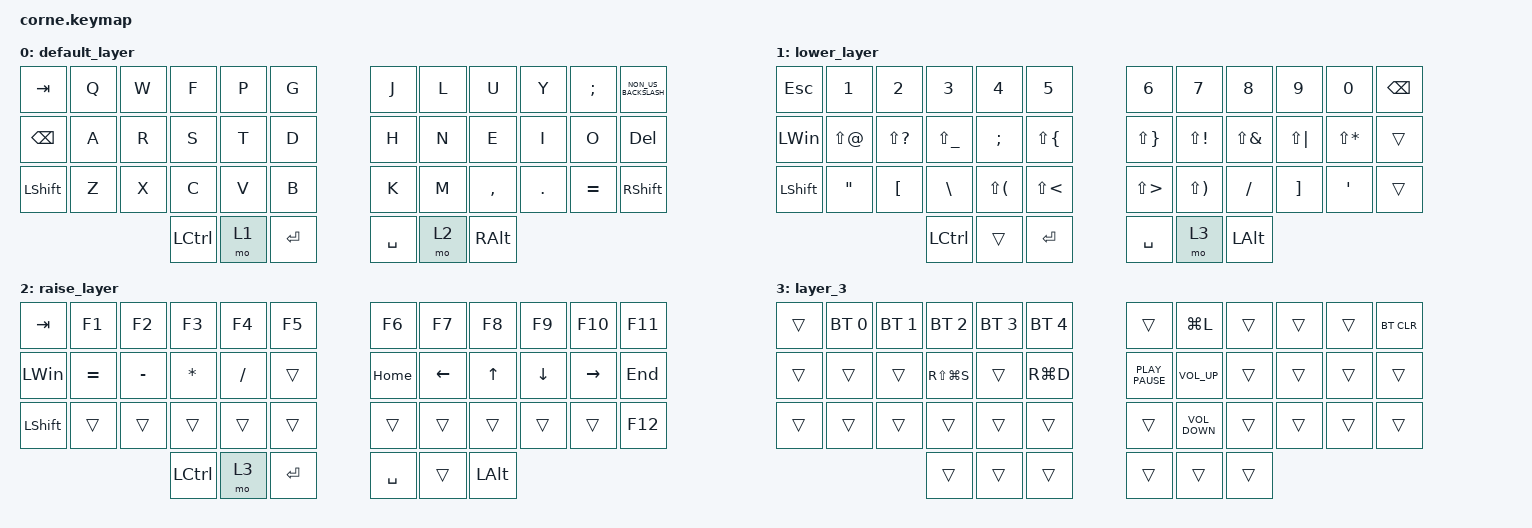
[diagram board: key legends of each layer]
/*
 * Copyright (c) 2020 The ZMK Contributors
 *
 * SPDX-License-Identifier: MIT
 */

#include <behaviors.dtsi>
#include <dt-bindings/zmk/bt.h>
#include <dt-bindings/zmk/keys.h>

/ {
    keymap {
        compatible = "zmk,keymap";

        default_layer {
            // -----------------------------------------------------------------------------------------
            // |  TAB |  Q  |  W  |  E  |  R  |  T  |   |  Y  |  U   |  I  |  O  |  P  | BKSP |
            // | CTRL |  A  |  S  |  D  |  F  |  G  |   |  H  |  J   |  K  |  L  |  ;  |  '   |
            // | SHFT |  Z  |  X  |  C  |  V  |  B  |   |  N  |  M   |  ,  |  .  |  /  | ESC  |
            //                    | GUI | LWR | SPC |   | ENT | RSE  | ALT |

            bindings = <
      &kp TAB  &kp Q  &kp W      &kp F  &kp P      &kp G        &kp J  &kp L          &kp U    &kp Y  &kp SEMICOLON  &kp NON_US_BACKSLASH
&kp BACKSPACE  &kp A  &kp R      &kp S  &kp T      &kp D        &kp H  &kp N          &kp E    &kp I          &kp O            &kp DELETE
    &kp LSHFT  &kp Z  &kp X      &kp C  &kp V      &kp B        &kp K  &kp M      &kp COMMA  &kp DOT      &kp EQUAL       &kp RIGHT_SHIFT
                             &kp LCTRL  &mo 1  &kp ENTER    &kp SPACE  &mo 2  &kp RIGHT_ALT
            >;
        };

        lower_layer {
            // -----------------------------------------------------------------------------------------
            // |  TAB |  1  |  2  |  3  |  4  |  5  |   |  6  |  7  |  8  |  9  |  0  | BKSP |
            // | BTCLR| BT1 | BT2 | BT3 | BT4 | BT5 |   | LFT | DWN |  UP | RGT |     |      |
            // | SHFT |     |     |     |     |     |   |     |     |     |     |     |      |
            //                    | GUI |     | SPC |   | ENT |     | ALT |

            bindings = <
     &kp ESC             &kp N1         &kp N2         &kp N3        &kp N4              &kp N5          &kp N6        &kp N7        &kp N8             &kp N9            &kp N0  &kp BSPC
&kp LEFT_WIN         &kp LS(AT)  &kp LS(QMARK)  &kp LS(UNDER)      &kp SEMI  &kp LS(LEFT_BRACE)    &kp LS(RBRC)  &kp LS(EXCL)  &kp LS(AMPS)       &kp LS(PIPE)      &kp LS(STAR)    &trans
   &kp LSHFT  &kp DOUBLE_QUOTES       &kp LBKT       &kp BSLH  &kp LS(LPAR)          &kp LS(LT)      &kp LS(GT)  &kp LS(RPAR)      &kp FSLH  &kp RIGHT_BRACKET  &kp SINGLE_QUOTE    &trans
                                                    &kp LCTRL        &trans           &kp ENTER       &kp SPACE         &mo 3  &kp LEFT_ALT
            >;
        };

        raise_layer {
            // -----------------------------------------------------------------------------------------
            // |  TAB |  !  |  @  |  #  |  $  |  %  |   |  ^  |  &  |  *  |  (  |  )  | BKSP |
            // | CTRL |     |     |     |     |     |   |  -  |  =  |  [  |  ]  |  \  |  `   |
            // | SHFT |     |     |     |     |     |   |  _  |  +  |  {  |  }  | "|" |  ~   |
            //                    | GUI |     | SPC |   | ENT |     | ALT |

            bindings = <
  &kp TAB     &kp F1     &kp F2        &kp F3     &kp F4     &kp F5      &kp F6    &kp F7        &kp F8    &kp F9    &kp F10          &kp F11
&kp LEFT_WIN  &kp EQUAL  &kp MINUS  &kp ASTERISK  &kp SLASH     &trans    &kp HOME  &kp LEFT        &kp UP  &kp DOWN  &kp RIGHT          &kp END
&kp LSHFT     &trans     &trans        &trans     &trans     &trans      &trans    &trans        &trans    &trans     &trans  &kp F12
                                    &kp LCTRL      &mo 3  &kp ENTER    &kp SPACE    &trans  &kp LEFT_ALT
            >;
        };

        layer_3 {
            bindings = <
&trans  &bt BT_SEL 0  &bt BT_SEL 1   &bt BT_SEL 2  &bt BT_SEL 3  &bt BT_SEL 4              &trans          &kp LG(L)  &trans  &trans  &trans  &bt BT_CLR
&trans        &trans        &trans  &kp RS(LG(S))        &trans     &kp RG(D)    &kp K_PLAY_PAUSE    &kp C_VOLUME_UP  &trans  &trans  &trans      &trans
&trans        &trans        &trans         &trans        &trans        &trans              &trans  &kp C_VOLUME_DOWN  &trans  &trans  &trans      &trans
                                           &trans        &trans        &trans              &trans             &trans  &trans
            >;
        };
    };
};
